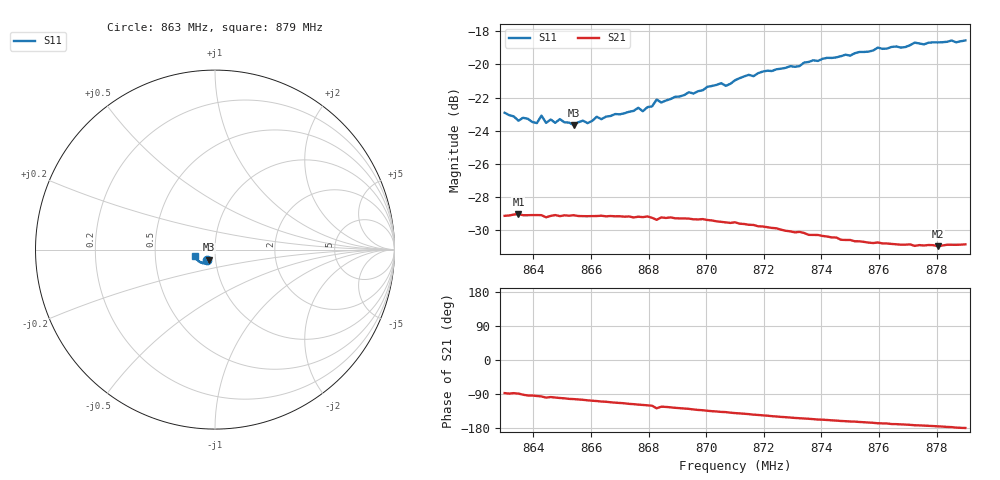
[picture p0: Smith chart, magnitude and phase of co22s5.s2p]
# HZ S RI R 50
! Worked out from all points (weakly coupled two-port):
!   101 points, 863 MHz to 879 MHz, reference 50 ohm
!   highest |S21| = -29.02 dB at 863.48 MHz (marker M1); lowest = -31.0 dB at 878.04 MHz (marker M2)
!   lowest |S11| = -23.7 dB at 865.4 MHz (marker M3), VSWR 1.14, Z = 46.4 - j5.22 ohm
!   |S11| at or under -10 dB: start of sweep to end of sweep
!   S12 and S22 are empty: the file has one direction only
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8.63e8  -0.0449 -0.0556  0.00162 -0.0349  0 0  0 0
8.6348e8  -0.0389 -0.0553  0.000807 -0.0354  0 0  0 0
8.6364e8  -0.0419 -0.0549  -0.000912 -0.0351  0 0  0 0
8.6412e8  -0.0388 -0.0541  -0.00303 -0.035  0 0  0 0
8.6428e8  -0.0406 -0.0572  -0.00377 -0.0349  0 0  0 0
8.6444e8  -0.0378 -0.0548  -0.00555 -0.0341  0 0  0 0
8.6492e8  -0.0394 -0.0559  -0.0062 -0.0343  0 0  0 0
8.654e8  -0.0342 -0.056  -0.008 -0.0342  0 0  0 0
8.6572e8  -0.0345 -0.0583  -0.00907 -0.0337  0 0  0 0
8.6588e8  -0.0343 -0.057  -0.00983 -0.0334  0 0  0 0
8.662e8  -0.0359 -0.0595  -0.011 -0.0331  0 0  0 0
8.6636e8  -0.0342 -0.0592  -0.0117 -0.033  0 0  0 0
8.6764e8  -0.0351 -0.0651  -0.0162 -0.0307  0 0  0 0
8.678e8  -0.0343 -0.0636  -0.0166 -0.0304  0 0  0 0
8.6812e8  -0.0363 -0.0653  -0.0176 -0.0297  0 0  0 0
8.6828e8  -0.0386 -0.0682  -0.0207 -0.027  0 0  0 0
8.6844e8  -0.0366 -0.0675  -0.0189 -0.0289  0 0  0 0
8.71e8  -0.0495 -0.0747  -0.0256 -0.0214  0 0  0 0
8.7372e8  -0.0701 -0.0754  -0.028 -0.0124  0 0  0 0
8.7644e8  -0.0947 -0.0615  -0.0282 -0.00547  0 0  0 0
8.7804e8  -0.1059 -0.0487  -0.0282 -0.00242  0 0  0 0
8.79e8  -0.112 -0.0375  -0.0287 -0.000302  0 0  0 0
